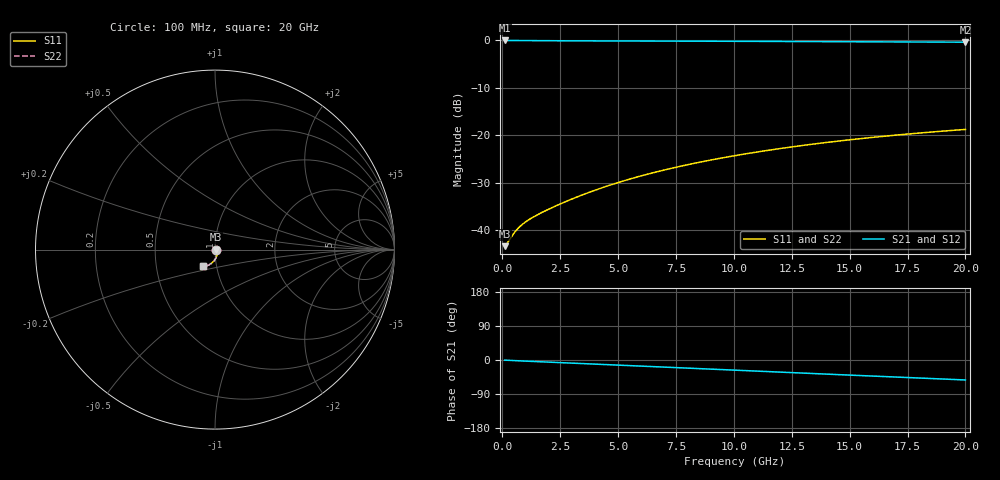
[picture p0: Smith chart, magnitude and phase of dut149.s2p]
! Touchstone file exported from HFSS 2026.1.0
!  File:  C:/ffzhzh/LocalFiles/Ansys_Project_Files/temp_train_TMRDL_149_1782983084_42984.aedt
!  Generated:  05:06:23 PM Jul  2, 2026
!  Design:  TMRDL
!  Project:  temp_train_TMRDL_149_1782983084_42984
! Variables:
!  h_bsmrdl = 2um
!  h_ox = 20um
!  h_rdl = 5um
!  h_sub = 80um
!  h_tmrdl = 2.43um
!  h_tsv = 80um
!  h_via = 3um
!  l_bsmrdl = 300um
!  l_sub = 1327.89um
!  l_tmrdl = 927.89um
!  m_sub = 200um
!  pitch = 22.94um
!  r_tsv = 6um
!  s_tmrdl = 10um
!  w_bsmrdl = 18um
!  w_sub = 500um
!  w_tmrdl = 20.95um
!  x_tsv_center1 = 938.365um
!  x_tsv_center2 = 1256.365um
!  x_tsv_center3 = 2205.205um
!  x_tsv_center4 = 2523.205um
!  x_tsv_center5 = 3472.045um
!  x_tsv_center6 = 3790.045um
# GHz S MA R 50.000000
! Terminal data exported
! Port[1] = TM_RDL1_1_T1
! Port[2] = TM_RDL1_1_T2
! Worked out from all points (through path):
!   200 points, 100 MHz to 20 GHz, reference 50 ohm
!   highest |S21| = -0.06 dB at 100 MHz (marker M1); lowest = -0.4 dB at 20 GHz (marker M2)
!   group delay of S21, straight-line fit = 7.29 ps
!   lowest |S11| = -43.4 dB at 100 MHz (marker M3), VSWR 1.01, Z = 50.7 + j0.0531 ohm
!   |S11| at or under -10 dB: start of sweep to end of sweep
!   |S22| runs from -43.4 to -18.8 dB; largest |S21 - S12| = 3.1e-15
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0.1  0.006778 4.4  0.9932 -0.3  0.9932 -0.3  0.006778 4.4
! Gamma 0 0 0 0
! Port Impedance 50 0 50 0
0.2  0.007226 7.5  0.9928 -0.7  0.9928 -0.7  0.007225 7.5
0.4  0.008551 8.1  0.9916 -1.3  0.9916 -1.3  0.008551 8.1
0.6  0.009928 3.9  0.9901 -1.9  0.9901 -1.9  0.009927 3.9
0.8  0.01113 -2.1  0.9889 -2.4  0.9889 -2.4  0.01113 -2.1
1.1  0.01266 -11.4  0.9875 -3.2  0.9875 -3.2  0.01265 -11.4
1.5  0.01443 -22.4  0.9863 -4.3  0.9863 -4.3  0.01443 -22.4
2.1  0.01704 -35.6  0.9851 -5.8  0.9851 -5.8  0.01703 -35.6
2.8  0.02026 -47.2  0.9842 -7.7  0.9842 -7.7  0.02026 -47.2
3.5  0.02371 -55.9  0.9834 -9.6  0.9834 -9.6  0.02371 -55.9
4.3  0.02788 -63.7  0.9824 -11.7  0.9824 -11.7  0.02788 -63.7
5.1  0.03223 -69.8  0.9814 -13.8  0.9814 -13.8  0.03223 -69.8
5.9  0.03671 -75.0  0.9803 -16.0  0.9803 -16.0  0.0367 -75.0
6.8  0.04185 -79.9  0.9789 -18.3  0.9789 -18.3  0.04185 -79.9
8.4  0.05117 -87.3  0.9763 -22.6  0.9763 -22.6  0.05116 -87.3
10.1  0.06117 -94.0  0.9733 -27.1  0.9733 -27.1  0.06116 -94.0
11.7  0.07054 -99.7  0.9702 -31.3  0.9702 -31.3  0.07053 -99.7
13.4  0.08035 -105.3  0.9667 -35.7  0.9667 -35.7  0.08034 -105.3
15  0.08935 -110.3  0.9633 -39.8  0.9633 -39.8  0.08934 -110.3
16.7  0.09853 -115.5  0.9596 -44.2  0.9596 -44.2  0.09852 -115.5
18.3  0.1067 -120.3  0.9562 -48.3  0.9562 -48.3  0.1067 -120.2
20  0.1148 -125.2  0.9526 -52.7  0.9526 -52.7  0.1148 -125.2
